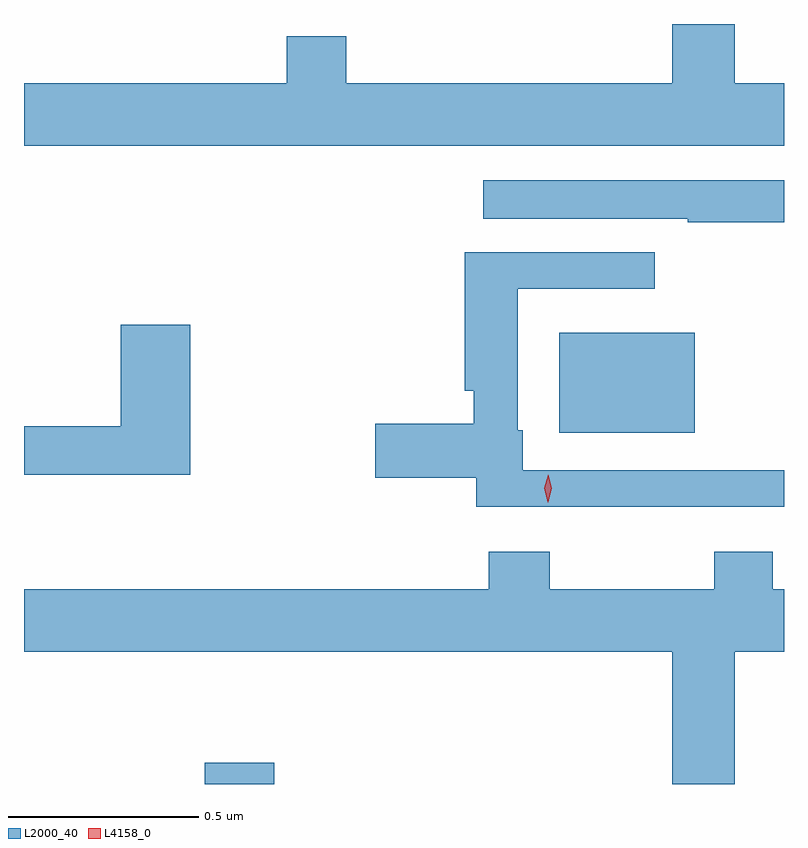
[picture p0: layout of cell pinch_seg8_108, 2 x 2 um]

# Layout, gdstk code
import gdstk
lib = gdstk.Library(unit=1e-6, precision=1e-09)
def R(c, l, rs):  # rectangles x0, y0, x1, y1
    for r in rs: c.add(gdstk.rectangle(r[:2], r[2:], *l))
def P(c, l, *ps):  # polygons
    for p in ps: c.add(gdstk.Polygon(p, *l))
L2000_40 = (2000, 40)
L4158_0 = (4158, 0)

pinch_seg8_108 = lib.new_cell('pinch_seg8_108')
R(pinch_seg8_108, L2000_40, [(1086.854,1094.84,1087.037,1094.896), (1087.787,1095.764,1088.143,1096.027)])
P(pinch_seg8_108, L2000_40, [(1088.378,1096.684),(1088.248,1096.684),(1088.248,1096.84),(1088.084,1096.84),(1088.084,1096.684),(1087.226,1096.684),(1087.226,1096.808),(1087.069,1096.808),(1087.069,1096.684),(1086.378,1096.684),(1086.378,1096.52),(1088.378,1096.52)],
  [(1088.378,1096.429),(1087.587,1096.429),(1087.587,1096.328),(1088.125,1096.328),(1088.125,1096.318),(1088.378,1096.318)],
  [(1088.105,1095.57),(1088.378,1095.57),(1088.378,1095.666),(1087.69,1095.666),(1087.69,1095.771),(1087.677,1095.771),(1087.677,1096.143),(1088.038,1096.143),(1088.038,1096.239),(1087.538,1096.239),(1087.538,1095.875),(1087.561,1095.875),(1087.561,1095.788),(1087.302,1095.788),(1087.302,1095.646),(1087.568,1095.646),(1087.568,1095.569),(1088.105,1095.569)],
  [(1086.815,1096.048),(1086.632,1096.048),(1086.632,1095.782),(1086.378,1095.782),(1086.378,1095.654),(1086.815,1095.654)],
  [(1088.248,1095.188),(1088.378,1095.188),(1088.378,1095.352),(1088.349,1095.352),(1088.349,1095.451),(1088.194,1095.451),(1088.194,1095.352),(1087.761,1095.352),(1087.761,1095.451),(1087.601,1095.451),(1087.601,1095.352),(1086.378,1095.352),(1086.378,1095.188),(1088.084,1095.188),(1088.084,1094.84),(1088.248,1094.84)])
P(pinch_seg8_108, L4158_0, [(1087.757,1095.581),(1087.756,1095.582),(1087.747,1095.618),(1087.758,1095.654),(1087.758,1095.654),(1087.758,1095.654),(1087.767,1095.618),(1087.757,1095.582)])

lib.write_gds('pinch_seg8_108.gds')
